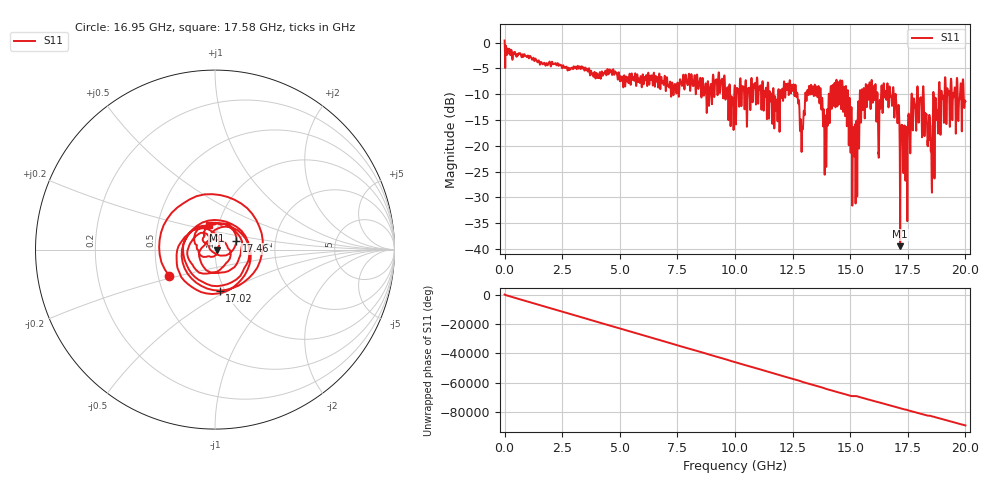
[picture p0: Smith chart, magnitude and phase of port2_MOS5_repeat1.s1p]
! MS46122B
! 2250307/22442219
! 7/25/2025 1:45:06 PM
! C:\USERS\SPARKY\DOCUMENTS\VNA_DATA\JULY25_2025\3K\PORT2_MOS5_REPEAT1.S1P
! CHANNEL.1
! TR.MEASUREMENT
! RAW.DATA
# GHZ S RI R 50.0
! FREQ.GHZ  S11RE  S11IM
!; PortSelection: Port_1
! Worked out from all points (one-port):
!   10001 points, 1 MHz to 20 GHz, reference 50 ohm
!   lowest |S11| = -39.5 dB at 17.17 GHz (marker M1), VSWR 1.02, Z = 51 - j0.355 ohm
!   |S11| at or under -10 dB: 14.91 GHz to 15.42 GHz (508.9 MHz wide, 3.36 % of centre); 16.97 GHz to 17.67 GHz (698.7 MHz wide, 4.04 % of centre); 18.19 GHz to 18.6 GHz (413.1 MHz wide, 2.25 % of centre) (the widest 3 of 92)
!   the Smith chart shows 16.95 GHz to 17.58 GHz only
!   S11 on the Smith chart (normalised r, x): 16.95 GHz: 0.57, -0.18; 17.02 GHz: 0.95, -0.46; 17.46 GHz: 1.27, +0.12; 17.58 GHz: 0.91, +0.25
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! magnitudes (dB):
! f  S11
! 1 MHz  0.4
! 2.501 GHz  -5.0
! 5.001 GHz  -7.5
! 7.501 GHz  -7.8
! 9.365 GHz  -8.7
! 10 GHz  -8.5
! 12.5 GHz  -9.4
! 12.9 GHz  -20.1
! 13.3 GHz  -8.2
! 13.7 GHz  -9.0
! 13.9 GHz  -19.1
! 14.48 GHz  -7.7
! 15 GHz  -13.9
! 15.22 GHz  -21.1
! 15.5 GHz  -9.4
! 15.76 GHz  -8.3
! 16.22 GHz  -20.5
! 16.53 GHz  -9.4
! 16.95 GHz  -10.6
! 17.02 GHz  -12.8
! 17.17 GHz  -39.5
! 17.46 GHz  -17.8
! 17.5 GHz  -17.6
! 17.58 GHz  -17.2
! 18.1 GHz  -14.2
! 18.47 GHz  -16.2
! 18.94 GHz  -11.9
! 20 GHz  -11.4
